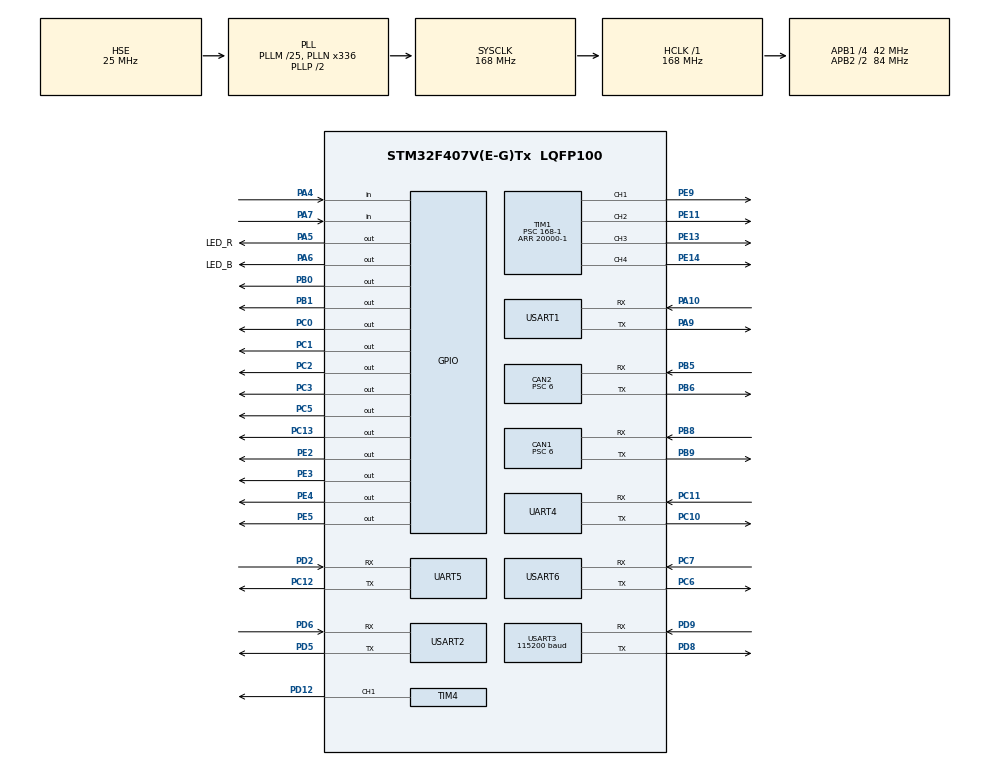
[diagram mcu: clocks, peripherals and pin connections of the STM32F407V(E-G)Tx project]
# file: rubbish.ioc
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CAN1.BS1=CAN_BS1_3TQ
CAN1.BS2=CAN_BS2_3TQ
CAN1.CalculateBaudRate=1000000
CAN1.CalculateTimeBit=1000
CAN1.CalculateTimeQuantum=142.85714285714286
CAN1.Prescaler=6
CAN1.SJW=CAN_SJW_1TQ
CAN2.BS1=CAN_BS1_3TQ
CAN2.BS2=CAN_BS2_3TQ
CAN2.CalculateBaudRate=1000000
CAN2.CalculateTimeBit=1000
CAN2.CalculateTimeQuantum=142.85714285714286
CAN2.Prescaler=6
Dma.Request0=UART5_RX
Dma.Request1=UART5_TX
Dma.Request2=USART2_RX
Dma.Request3=USART2_TX
Dma.Request4=USART3_RX
Dma.Request5=USART3_TX
Dma.Request6=UART4_RX
Dma.Request7=USART6_RX
Dma.Request8=USART1_RX
Dma.Request9=UART4_TX
Dma.UART4_RX.6.Direction=DMA_PERIPH_TO_MEMORY
Dma.UART4_RX.6.FIFOMode=DMA_FIFOMODE_DISABLE
Dma.UART4_RX.6.Instance=DMA1_Stream2
Dma.UART4_RX.6.MemDataAlignment=DMA_MDATAALIGN_BYTE
Dma.UART4_RX.6.MemInc=DMA_MINC_ENABLE
Dma.UART4_RX.6.Mode=DMA_NORMAL
Dma.UART4_RX.6.PeriphDataAlignment=DMA_PDATAALIGN_BYTE
Dma.UART4_RX.6.PeriphInc=DMA_PINC_DISABLE
Dma.UART4_RX.6.Priority=DMA_PRIORITY_LOW
Dma.UART4_TX.9.Direction=DMA_MEMORY_TO_PERIPH
Dma.UART4_TX.9.FIFOMode=DMA_FIFOMODE_DISABLE
Dma.UART4_TX.9.Instance=DMA1_Stream4
Dma.UART4_TX.9.MemDataAlignment=DMA_MDATAALIGN_BYTE
Dma.UART4_TX.9.MemInc=DMA_MINC_ENABLE
Dma.UART4_TX.9.Mode=DMA_NORMAL
Dma.UART4_TX.9.PeriphDataAlignment=DMA_PDATAALIGN_BYTE
Dma.UART4_TX.9.PeriphInc=DMA_PINC_DISABLE
Dma.UART4_TX.9.Priority=DMA_PRIORITY_LOW
Dma.UART5_RX.0.Direction=DMA_PERIPH_TO_MEMORY
Dma.UART5_RX.0.FIFOMode=DMA_FIFOMODE_DISABLE
Dma.UART5_RX.0.Instance=DMA1_Stream0
Dma.UART5_RX.0.MemDataAlignment=DMA_MDATAALIGN_BYTE
Dma.UART5_RX.0.MemInc=DMA_MINC_ENABLE
Dma.UART5_RX.0.Mode=DMA_NORMAL
Dma.UART5_RX.0.PeriphDataAlignment=DMA_PDATAALIGN_BYTE
Dma.UART5_RX.0.PeriphInc=DMA_PINC_DISABLE
Dma.UART5_RX.0.Priority=DMA_PRIORITY_LOW
Dma.UART5_TX.1.Direction=DMA_MEMORY_TO_PERIPH
Dma.UART5_TX.1.FIFOMode=DMA_FIFOMODE_DISABLE
Dma.UART5_TX.1.Instance=DMA1_Stream7
Dma.UART5_TX.1.MemDataAlignment=DMA_MDATAALIGN_BYTE
Dma.UART5_TX.1.MemInc=DMA_MINC_ENABLE
Dma.UART5_TX.1.Mode=DMA_NORMAL
Dma.UART5_TX.1.PeriphDataAlignment=DMA_PDATAALIGN_BYTE
Dma.UART5_TX.1.PeriphInc=DMA_PINC_DISABLE
Dma.UART5_TX.1.Priority=DMA_PRIORITY_LOW
Dma.USART1_RX.8.Direction=DMA_PERIPH_TO_MEMORY
Dma.USART1_RX.8.FIFOMode=DMA_FIFOMODE_DISABLE
Dma.USART1_RX.8.Instance=DMA2_Stream2
Dma.USART1_RX.8.MemDataAlignment=DMA_MDATAALIGN_BYTE
Dma.USART1_RX.8.MemInc=DMA_MINC_ENABLE
Dma.USART1_RX.8.Mode=DMA_NORMAL
Dma.USART1_RX.8.PeriphDataAlignment=DMA_PDATAALIGN_BYTE
Dma.USART1_RX.8.PeriphInc=DMA_PINC_DISABLE
Dma.USART1_RX.8.Priority=DMA_PRIORITY_LOW
Dma.USART2_RX.2.Direction=DMA_PERIPH_TO_MEMORY
Dma.USART2_RX.2.FIFOMode=DMA_FIFOMODE_DISABLE
Dma.USART2_RX.2.Instance=DMA1_Stream5
Dma.USART2_RX.2.MemDataAlignment=DMA_MDATAALIGN_BYTE
Dma.USART2_RX.2.MemInc=DMA_MINC_ENABLE
Dma.USART2_RX.2.Mode=DMA_NORMAL
Dma.USART2_RX.2.PeriphDataAlignment=DMA_PDATAALIGN_BYTE
Dma.USART2_RX.2.PeriphInc=DMA_PINC_DISABLE
Dma.USART2_RX.2.Priority=DMA_PRIORITY_LOW
Dma.USART2_TX.3.Direction=DMA_MEMORY_TO_PERIPH
Dma.USART2_TX.3.FIFOMode=DMA_FIFOMODE_DISABLE
Dma.USART2_TX.3.Instance=DMA1_Stream6
Dma.USART2_TX.3.MemDataAlignment=DMA_MDATAALIGN_BYTE
Dma.USART2_TX.3.MemInc=DMA_MINC_ENABLE
Dma.USART2_TX.3.Mode=DMA_NORMAL
Dma.USART2_TX.3.PeriphDataAlignment=DMA_PDATAALIGN_BYTE
Dma.USART2_TX.3.PeriphInc=DMA_PINC_DISABLE
Dma.USART2_TX.3.Priority=DMA_PRIORITY_LOW
Dma.USART3_RX.4.Direction=DMA_PERIPH_TO_MEMORY
Dma.USART3_RX.4.FIFOMode=DMA_FIFOMODE_DISABLE
Dma.USART3_RX.4.Instance=DMA1_Stream1
Dma.USART3_RX.4.MemDataAlignment=DMA_MDATAALIGN_BYTE
Dma.USART3_RX.4.MemInc=DMA_MINC_ENABLE
Dma.USART3_RX.4.Mode=DMA_NORMAL
Dma.USART3_RX.4.PeriphDataAlignment=DMA_PDATAALIGN_BYTE
Dma.USART3_RX.4.PeriphInc=DMA_PINC_DISABLE
Dma.USART3_RX.4.Priority=DMA_PRIORITY_LOW
Dma.USART3_TX.5.Direction=DMA_MEMORY_TO_PERIPH
Dma.USART3_TX.5.FIFOMode=DMA_FIFOMODE_DISABLE
Dma.USART3_TX.5.Instance=DMA1_Stream3
Dma.USART3_TX.5.MemDataAlignment=DMA_MDATAALIGN_BYTE
Dma.USART3_TX.5.MemInc=DMA_MINC_ENABLE
Dma.USART3_TX.5.Mode=DMA_NORMAL
Dma.USART3_TX.5.PeriphDataAlignment=DMA_PDATAALIGN_BYTE
Dma.USART3_TX.5.PeriphInc=DMA_PINC_DISABLE
Dma.USART3_TX.5.Priority=DMA_PRIORITY_LOW
Dma.USART6_RX.7.Direction=DMA_PERIPH_TO_MEMORY
Dma.USART6_RX.7.FIFOMode=DMA_FIFOMODE_DISABLE
Dma.USART6_RX.7.Instance=DMA2_Stream1
Dma.USART6_RX.7.MemDataAlignment=DMA_MDATAALIGN_BYTE
Dma.USART6_RX.7.MemInc=DMA_MINC_ENABLE
Dma.USART6_RX.7.Mode=DMA_NORMAL
Dma.USART6_RX.7.PeriphDataAlignment=DMA_PDATAALIGN_BYTE
Dma.USART6_RX.7.PeriphInc=DMA_PINC_DISABLE
Dma.USART6_RX.7.Priority=DMA_PRIORITY_LOW
FREERTOS.INCLUDE_uxTaskGetStackHighWaterMark=1
FREERTOS.INCLUDE_vTaskDelayUntil=1
FREERTOS.Tasks01=defaultTask,0,128,StartDefaultTask,Default,NULL,Dynamic,NULL,NULL
Mcu.Family=STM32F4
Mcu.Name=STM32F407V(E-G)Tx
Mcu.Package=LQFP100
NVIC.CAN1_RX0_IRQn=true\:5\:0\:false\:false\:true\:true\:true\:true\:true
NVIC.CAN1_TX_IRQn=true\:5\:0\:false\:false\:true\:true\:true\:true\:true
NVIC.CAN2_RX1_IRQn=true\:5\:0\:false\:false\:true\:true\:true\:true\:true
NVIC.CAN2_TX_IRQn=true\:5\:0\:false\:false\:true\:true\:true\:true\:true
NVIC.DMA1_Stream0_IRQn=true\:5\:0\:false\:false\:true\:true\:false\:true\:true
NVIC.DMA1_Stream1_IRQn=true\:5\:0\:false\:false\:true\:true\:false\:true\:true
NVIC.DMA1_Stream2_IRQn=true\:5\:0\:false\:false\:true\:true\:false\:true\:true
NVIC.DMA1_Stream3_IRQn=true\:5\:0\:false\:false\:true\:true\:false\:true\:true
NVIC.DMA1_Stream4_IRQn=true\:5\:0\:false\:false\:true\:true\:false\:true\:true
NVIC.DMA1_Stream5_IRQn=true\:5\:0\:false\:false\:true\:true\:false\:true\:true
NVIC.DMA1_Stream6_IRQn=true\:5\:0\:false\:false\:true\:true\:false\:true\:true
NVIC.DMA1_Stream7_IRQn=true\:5\:0\:false\:false\:true\:true\:false\:true\:true
NVIC.DMA2_Stream1_IRQn=true\:5\:0\:false\:false\:true\:true\:false\:true\:true
NVIC.DMA2_Stream2_IRQn=true\:5\:0\:false\:false\:true\:true\:false\:true\:true
NVIC.PriorityGroup=NVIC_PRIORITYGROUP_4
NVIC.TIM2_IRQn=true\:15\:0\:false\:false\:true\:false\:false\:true\:true
NVIC.TimeBase=TIM2_IRQn
NVIC.TimeBaseIP=TIM2
NVIC.UART4_IRQn=true\:5\:0\:false\:false\:true\:true\:true\:true\:true
NVIC.UART5_IRQn=true\:5\:0\:false\:false\:true\:true\:true\:true\:true
NVIC.USART1_IRQn=true\:5\:0\:false\:false\:true\:true\:true\:true\:true
NVIC.USART2_IRQn=true\:5\:0\:false\:false\:true\:true\:true\:true\:true
NVIC.USART3_IRQn=true\:5\:0\:false\:false\:true\:true\:true\:true\:true
NVIC.USART6_IRQn=true\:5\:0\:false\:false\:true\:true\:true\:true\:true
PA10.Mode=Asynchronous
PA10.Signal=USART1_RX
PA13.Mode=Serial_Wire
PA13.Signal=SYS_JTMS-SWDIO
PA14.Mode=Serial_Wire
PA14.Signal=SYS_JTCK-SWCLK
PA4.Signal=GPIO_Input
PA5.GPIO_Label=LED_R
PA5.Signal=GPIO_Output
PA6.GPIO_Label=LED_B
PA6.Signal=GPIO_Output
PA7.Signal=GPIO_Input
PA9.Mode=Asynchronous
PA9.Signal=USART1_TX
PB0.Signal=GPIO_Output
PB1.Signal=GPIO_Output
PB5.Mode=CAN_Activate
PB5.Signal=CAN2_RX
PB6.Mode=CAN_Activate
PB6.Signal=CAN2_TX
PB8.Mode=CAN_Activate
PB8.Signal=CAN1_RX
PB9.Mode=CAN_Activate
PB9.Signal=CAN1_TX
PC0.PinState=GPIO_PIN_SET
PC0.Signal=GPIO_Output
PC1.PinState=GPIO_PIN_SET
PC1.Signal=GPIO_Output
PC10.Mode=Asynchronous
PC10.Signal=UART4_TX
PC11.Mode=Asynchronous
PC11.Signal=UART4_RX
PC12.Mode=Asynchronous
PC12.Signal=UART5_TX
PC13-ANTI_TAMP.PinState=GPIO_PIN_SET
PC13-ANTI_TAMP.Signal=GPIO_Output
PC2.PinState=GPIO_PIN_SET
PC2.Signal=GPIO_Output
PC3.PinState=GPIO_PIN_SET
PC3.Signal=GPIO_Output
PC5.Signal=GPIO_Output
PC6.Mode=Asynchronous
PC6.Signal=USART6_TX
PC7.Mode=Asynchronous
PC7.Signal=USART6_RX
PD12.Signal=S_TIM4_CH1
PD2.Mode=Asynchronous
PD2.Signal=UART5_RX
PD5.Mode=Asynchronous
PD5.Signal=USART2_TX
PD6.Mode=Asynchronous
PD6.Signal=USART2_RX
PD8.Mode=Asynchronous
PD8.Signal=USART3_TX
PD9.Mode=Asynchronous
PD9.Signal=USART3_RX
PE11.Signal=S_TIM1_CH2
PE13.Signal=S_TIM1_CH3
PE14.Signal=S_TIM1_CH4
PE2.PinState=GPIO_PIN_SET
PE2.Signal=GPIO_Output
PE3.PinState=GPIO_PIN_SET
PE3.Signal=GPIO_Output
PE4.PinState=GPIO_PIN_SET
PE4.Signal=GPIO_Output
PE5.PinState=GPIO_PIN_SET
PE5.Signal=GPIO_Output
PE9.Signal=S_TIM1_CH1
PH0-OSC_IN.Mode=HSE-External-Oscillator
PH0-OSC_IN.Signal=RCC_OSC_IN
PH1-OSC_OUT.Mode=HSE-External-Oscillator
PH1-OSC_OUT.Signal=RCC_OSC_OUT
ProjectManager.HeapSize=0xC00
ProjectManager.StackSize=0x400
ProjectManager.TargetToolchain=MDK-ARM V5
RCC.48MHZClocksFreq_Value=48000000
RCC.AHBFreq_Value=168000000
RCC.APB1CLKDivider=RCC_HCLK_DIV4
RCC.APB1Freq_Value=42000000
RCC.APB1TimFreq_Value=84000000
RCC.APB2CLKDivider=RCC_HCLK_DIV2
RCC.APB2Freq_Value=84000000
RCC.APB2TimFreq_Value=168000000
RCC.CortexFreq_Value=168000000
RCC.HCLKFreq_Value=168000000
RCC.HSE_VALUE=25000000
RCC.HSI_VALUE=16000000
RCC.LSE_VALUE=32768
RCC.PLLM=25
RCC.PLLN=336
RCC.PLLQ=7
RCC.PLLSourceVirtual=RCC_PLLSOURCE_HSE
RCC.SYSCLKFreq_VALUE=168000000
RCC.SYSCLKSource=RCC_SYSCLKSOURCE_PLLCLK
RCC.VCOOutputFreq_Value=336000000
SH.S_TIM1_CH1.0=TIM1_CH1,PWM Generation1 CH1
SH.S_TIM1_CH2.0=TIM1_CH2,PWM Generation2 CH2
SH.S_TIM1_CH3.0=TIM1_CH3,PWM Generation3 CH3
SH.S_TIM1_CH4.0=TIM1_CH4,PWM Generation4 CH4
SH.S_TIM4_CH1.0=TIM4_CH1,PWM Generation1 CH1
STMicroelectronics.X-CUBE-ALGOBUILD.1.4.0.LibraryCcDSPOoLibraryJjDSPOoLibrary=true
TIM1.Channel-PWM\ Generation1\ CH1=TIM_CHANNEL_1
TIM1.Channel-PWM\ Generation2\ CH2=TIM_CHANNEL_2
TIM1.Channel-PWM\ Generation3\ CH3=TIM_CHANNEL_3
TIM1.Channel-PWM\ Generation4\ CH4=TIM_CHANNEL_4
TIM1.Period=20000-1
TIM1.Prescaler=168-1
TIM14.Prescaler=168-1
TIM4.Channel-PWM\ Generation1\ CH1=TIM_CHANNEL_1
TIM4.Period=20000-1
TIM4.Prescaler=84-1
UART4.VirtualMode=Asynchronous
UART5.VirtualMode=Asynchronous
USART1.VirtualMode=VM_ASYNC
USART2.VirtualMode=VM_ASYNC
USART3.BaudRate=115200
USART3.VirtualMode=VM_ASYNC
USART6.VirtualMode=VM_ASYNC
VP_FREERTOS_VS_CMSIS_V1.Mode=CMSIS_V1
VP_STMicroelectronics.X-CUBE-ALGOBUILD_VS_DSPOoLibraryJjLibrary_1.4.0_1.4.0.Mode=DSPOoLibraryJjLibrary
VP_SYS_VS_tim2.Mode=TIM2
VP_TIM14_VS_ClockSourceINT.Mode=Enable_Timer
board=custom

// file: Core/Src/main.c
/* USER CODE BEGIN Header */
/**
  ******************************************************************************
  * @file           : main.c
  * @brief          : Main program body
  ******************************************************************************
  * @attention
  *
  * Copyright (c) 2025 STMicroelectronics.
  * All rights reserved.
  *
  * This software is licensed under terms that can be found in the LICENSE file
  * in the root directory of this software component.
  * If no LICENSE file comes with this software, it is provided AS-IS.
  *
  ******************************************************************************
  */
/* USER CODE END Header */
#include "main.h"
#include "cmsis_os.h"
#include "can.h"
#include "dma.h"
#include "tim.h"
#include "usart.h"
#include "gpio.h"

/* USER CODE BEGIN Includes */
#include "CANDrive.h"
/* USER CODE END Includes */

void SystemClock_Config(void);
void MX_FREERTOS_Init(void);

int main(void)
{

  /* MCU Configuration--------------------------------------------------------*/

  /* Reset of all peripherals, Initializes the Flash interface and the Systick. */
  HAL_Init();

  /* Configure the system clock */
  SystemClock_Config();

  /* Initialize all configured peripherals */
  MX_GPIO_Init();
  MX_DMA_Init();
  MX_CAN1_Init();
  MX_CAN2_Init();
  MX_TIM1_Init();
  MX_TIM4_Init();
  MX_UART5_Init();
  MX_USART2_UART_Init();
  MX_USART3_UART_Init();
  MX_UART4_Init();
  MX_USART6_UART_Init();
  MX_TIM14_Init();
  MX_USART1_UART_Init();
  /* USER CODE BEGIN 2 */
	CanFilter_Init(&hcan1);
	CanFilter_Init(&hcan2);
  HAL_CAN_ActivateNotification(&hcan1,CAN_IT_RX_FIFO0_MSG_PENDING);
	HAL_CAN_ActivateNotification(&hcan2,CAN_IT_RX_FIFO1_MSG_PENDING);
  HAL_CAN_Start(&hcan1);
	HAL_CAN_Start(&hcan2);
	__HAL_DBGMCU_FREEZE_CAN1();
	__HAL_DBGMCU_FREEZE_CAN2();
	HAL_TIM_PWM_Start(&htim1,TIM_CHANNEL_1);
	HAL_TIM_PWM_Start(&htim1,TIM_CHANNEL_2);
	HAL_TIM_PWM_Start(&htim1,TIM_CHANNEL_3);
	HAL_TIM_PWM_Start(&htim1,TIM_CHANNEL_4);
	HAL_GPIO_WritePin(GPIOB,GPIO_PIN_0,GPIO_PIN_RESET);
	HAL_GPIO_WritePin(GPIOC,GPIO_PIN_5,GPIO_PIN_RESET);
  /* USER CODE END 2 */

  /* Call init function for freertos objects (in cmsis_os2.c) */
  MX_FREERTOS_Init();

  /* Start scheduler */
  osKernelStart();

  /* We should never get here as control is now taken by the scheduler */

  /* Infinite loop */
  while (1)
  {

  }
}

void SystemClock_Config(void)
{
  RCC_OscInitTypeDef RCC_OscInitStruct = {0};
  RCC_ClkInitTypeDef RCC_ClkInitStruct = {0};

  /** Configure the main internal regulator output voltage
  */
  __HAL_RCC_PWR_CLK_ENABLE();
  __HAL_PWR_VOLTAGESCALING_CONFIG(PWR_REGULATOR_VOLTAGE_SCALE1);

  /** Initializes the RCC Oscillators according to the specified parameters
  * in the RCC_OscInitTypeDef structure.
  */
  RCC_OscInitStruct.OscillatorType = RCC_OSCILLATORTYPE_HSE;
  RCC_OscInitStruct.HSEState = RCC_HSE_ON;
  RCC_OscInitStruct.PLL.PLLState = RCC_PLL_ON;
  RCC_OscInitStruct.PLL.PLLSource = RCC_PLLSOURCE_HSE;
  RCC_OscInitStruct.PLL.PLLM = 25;
  RCC_OscInitStruct.PLL.PLLN = 336;
  RCC_OscInitStruct.PLL.PLLP = RCC_PLLP_DIV2;
  RCC_OscInitStruct.PLL.PLLQ = 7;
  if (HAL_RCC_OscConfig(&RCC_OscInitStruct) != HAL_OK)
  {
    Error_Handler();
  }

  /** Initializes the CPU, AHB and APB buses clocks
  */
  RCC_ClkInitStruct.ClockType = RCC_CLOCKTYPE_HCLK|RCC_CLOCKTYPE_SYSCLK
                              |RCC_CLOCKTYPE_PCLK1|RCC_CLOCKTYPE_PCLK2;
  RCC_ClkInitStruct.SYSCLKSource = RCC_SYSCLKSOURCE_PLLCLK;
  RCC_ClkInitStruct.AHBCLKDivider = RCC_SYSCLK_DIV1;
  RCC_ClkInitStruct.APB1CLKDivider = RCC_HCLK_DIV4;
  RCC_ClkInitStruct.APB2CLKDivider = RCC_HCLK_DIV2;

  if (HAL_RCC_ClockConfig(&RCC_ClkInitStruct, FLASH_LATENCY_5) != HAL_OK)
  {
    Error_Handler();
  }
}

void HAL_TIM_PeriodElapsedCallback(TIM_HandleTypeDef *htim)
{
  if (htim->Instance == TIM2)
  {
    HAL_IncTick();
  }
}

void Error_Handler(void)
{
  __disable_irq();
  while (1)
  {
  }
}

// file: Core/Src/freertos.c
/* USER CODE BEGIN Header */
/**
  ******************************************************************************
  * File Name          : freertos.c
  * Description        : Code for freertos applications
  ******************************************************************************
  * @attention
  *
  * Copyright (c) 2025 STMicroelectronics.
  * All rights reserved.
  *
  * This software is licensed under terms that can be found in the LICENSE file
  * in the root directory of this software component.
  * If no LICENSE file comes with this software, it is provided AS-IS.
  *
  ******************************************************************************
  */
/* USER CODE END Header */

#include "FreeRTOS.h"
#include "task.h"
#include "main.h"
#include "cmsis_os.h"

/* USER CODE BEGIN Includes */
#include "Action.h"
#include "motorControl.h"
#include "RemoteTask.h"
#include "MoveControl.h"
/* USER CODE END Includes */

/* USER CODE BEGIN PD */
QueueHandle_t action_queue;
QueueHandle_t copilot_action_queue;
QueueHandle_t remote_semaphore;
QueueHandle_t action_semaphore;

TaskHandle_t motor_control_task_handle;
TaskHandle_t remote_task_handle;
TaskHandle_t move_control_handle;
TaskHandle_t action_deal_task;
TaskHandle_t coplit_action_deal_task;
/* USER CODE END PD */

osThreadId defaultTaskHandle;

void StartDefaultTask(void const * argument);

void MX_FREERTOS_Init(void); /* (MISRA C 2004 rule 8.1) */

/* GetIdleTaskMemory prototype (linked to static allocation support) */
void vApplicationGetIdleTaskMemory( StaticTask_t **ppxIdleTaskTCBBuffer, StackType_t **ppxIdleTaskStackBuffer, uint32_t *pulIdleTaskStackSize );

/* USER CODE BEGIN GET_IDLE_TASK_MEMORY */
static StaticTask_t xIdleTaskTCBBuffer;
static StackType_t xIdleStack[configMINIMAL_STACK_SIZE];

void vApplicationGetIdleTaskMemory( StaticTask_t **ppxIdleTaskTCBBuffer, StackType_t **ppxIdleTaskStackBuffer, uint32_t *pulIdleTaskStackSize )
{
  *ppxIdleTaskTCBBuffer = &xIdleTaskTCBBuffer;
  *ppxIdleTaskStackBuffer = &xIdleStack[0];
  *pulIdleTaskStackSize = configMINIMAL_STACK_SIZE;
  /* place for user code */
}
/* USER CODE END GET_IDLE_TASK_MEMORY */

void MX_FREERTOS_Init(void) {

  /* USER CODE BEGIN RTOS_QUEUES */
  /* add queues, ... */
	action_queue=xQueueCreate(1,sizeof(Action_t));
  copilot_action_queue=xQueueCreate(1,sizeof(Action_t));
	remote_semaphore=xSemaphoreCreateBinary();
	action_semaphore=xSemaphoreCreateBinary();
  /* USER CODE END RTOS_QUEUES */

  /* Create the thread(s) */
  /* definition and creation of defaultTask */
  //osThreadDef(defaultTask, StartDefaultTask, osPriorityNormal, 0, 128);
  //defaultTaskHandle = osThreadCreate(osThread(defaultTask), NULL);

  /* USER CODE BEGIN RTOS_THREADS */
  /* add threads, ... */
  xTaskCreate(MoveControlTask,"move_task",128,NULL,4,&move_control_handle);	//创建运动控制任务
  xTaskCreate(MotorControl,"motor_task",128,NULL,5,&motor_control_task_handle);	//创建电机控制任务
  xTaskCreate(RemoteTask,"remote_task",256,NULL,6,&remote_task_handle);	//创建遥控器任�?
  xTaskCreate(ActionDealTask,"action_task",128,action_queue,3,&action_deal_task);	//创建动作处理任务

  //xTaskCreate(CoplitActionTask,"coplit_action",64,copilot_action_queue,3,&coplit_action_deal_task);
  /* USER CODE END RTOS_THREADS */

}

uint32_t debug1,debug2,debug3,debug4;
void StartDefaultTask(void const * argument)
{
  /* USER CODE BEGIN StartDefaultTask */
  /* Infinite loop */
  for(;;)
  {
		debug1=uxTaskGetStackHighWaterMark(move_control_handle);
		debug2=uxTaskGetStackHighWaterMark(motor_control_task_handle);
		debug3=uxTaskGetStackHighWaterMark(remote_task_handle);
		debug4=uxTaskGetStackHighWaterMark(action_deal_task);
    osDelay(100);
  }
  /* USER CODE END StartDefaultTask */
}
